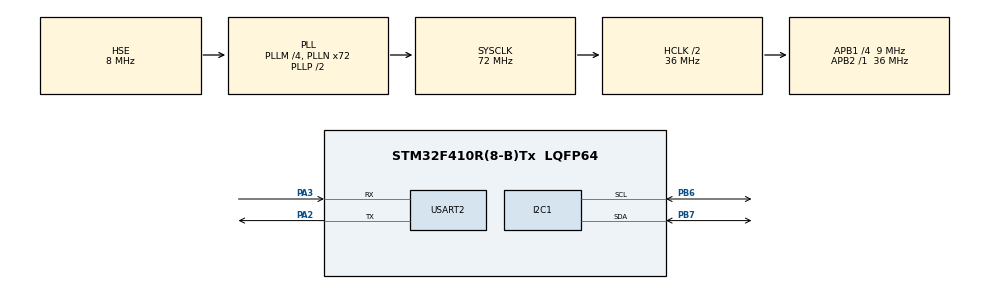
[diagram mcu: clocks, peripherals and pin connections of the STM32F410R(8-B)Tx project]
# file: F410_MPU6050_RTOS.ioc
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FREERTOS.Tasks01=defaultTask,0,128,StartDefaultTask,Default,NULL,Dynamic,NULL,NULL
Mcu.Family=STM32F4
Mcu.Name=STM32F410R(8-B)Tx
Mcu.Package=LQFP64
NVIC.PriorityGroup=NVIC_PRIORITYGROUP_4
NVIC.TIM1_TRG_COM_TIM11_IRQn=true\:15\:0\:false\:false\:true\:false\:false\:true\:true
NVIC.TimeBase=TIM1_TRG_COM_TIM11_IRQn
NVIC.TimeBaseIP=TIM11
NVIC.USART2_IRQn=true\:5\:0\:false\:false\:true\:true\:true\:true\:true
PA2.Mode=Asynchronous
PA2.Signal=USART2_TX
PA3.Mode=Asynchronous
PA3.Signal=USART2_RX
PB6.Mode=I2C
PB6.Signal=I2C1_SCL
PB7.Mode=I2C
PB7.Signal=I2C1_SDA
PH0\ -\ OSC_IN.Mode=HSE-External-Oscillator
PH0\ -\ OSC_IN.Signal=RCC_OSC_IN
PH1\ -\ OSC_OUT.Mode=HSE-External-Oscillator
PH1\ -\ OSC_OUT.Signal=RCC_OSC_OUT
ProjectManager.HeapSize=0x200
ProjectManager.StackSize=0x400
ProjectManager.TargetToolchain=STM32CubeIDE
RCC.48MHZClocksFreq_Value=36000000
RCC.AHBCLKDivider=RCC_SYSCLK_DIV2
RCC.AHBFreq_Value=36000000
RCC.APB1CLKDivider=RCC_HCLK_DIV4
RCC.APB1Freq_Value=9000000
RCC.APB1TimFreq_Value=18000000
RCC.APB2Freq_Value=36000000
RCC.APB2TimFreq_Value=36000000
RCC.CortexFreq_Value=36000000
RCC.HCLKFreq_Value=36000000
RCC.HSE_VALUE=8000000
RCC.HSI_VALUE=16000000
RCC.LSE_VALUE=32768
RCC.PLLM=4
RCC.PLLN=72
RCC.PLLSourceVirtual=RCC_PLLSOURCE_HSE
RCC.SYSCLKFreq_VALUE=72000000
RCC.SYSCLKSource=RCC_SYSCLKSOURCE_PLLCLK
RCC.VCOOutputFreq_Value=144000000
USART2.VirtualMode=VM_ASYNC
VP_FREERTOS_VS_CMSIS_V1.Mode=CMSIS_V1
VP_SYS_VS_tim11.Mode=TIM11
board=custom

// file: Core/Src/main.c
/* USER CODE BEGIN Header */
/**
  ******************************************************************************
  * @file           : main.c
  * @brief          : Main program body
  ******************************************************************************
  * @attention
  *
  * Copyright (c) 2025 STMicroelectronics.
  * All rights reserved.
  *
  * This software is licensed under terms that can be found in the LICENSE file
  * in the root directory of this software component.
  * If no LICENSE file comes with this software, it is provided AS-IS.
  *
  ******************************************************************************
  */
/* USER CODE END Header */
#include "main.h"
//#include "cmsis_os.h"

/* USER CODE BEGIN Includes */
#include "FreeRTOS.h"
#include "task.h"
#include "timers.h"
#include "queue.h"
#include "semphr.h"
#include "event_groups.h"

#include "stdio.h"
#include "string.h"

#include "mpu6050.h"
#include "i2c.h"

/* USER CODE END Includes */

//extern I2C_HandleTypeDef hi2c1;

UART_HandleTypeDef huart2;

/* USER CODE BEGIN PV */
//#define RAD_TO_DEG 57.295779513082320876798154814105
//
//#define WHO_AM_I_REG 0x75
//#define PWR_MGMT_1_REG 0x6B
//#define SMPLRT_DIV_REG 0x19
//#define ACCEL_CONFIG_REG 0x1C
//#define ACCEL_XOUT_H_REG 0x3B
//#define TEMP_OUT_H_REG 0x41
//#define GYRO_CONFIG_REG 0x1B
//#define GYRO_XOUT_H_REG 0x43
//
//// Setup MPU6050
//#define MPU6050_ADDR 0xD0
//const uint16_t i2c_timeout = 100;
//const double Accel_Z_corrector = 14418.0;
//
//uint32_t timer;
//typedef struct {
//    double Q_angle;
//    double Q_bias;
//    double R_measure;
//    double angle;
//    double bias;
//    double P[2][2];
//} Kalman_t;
//
//
//Kalman_t KalmanX = {
//        .Q_angle = 0.001f,
//        .Q_bias = 0.003f,
//        .R_measure = 0.03f
//};
//
//Kalman_t KalmanY = {
//        .Q_angle = 0.001f,
//        .Q_bias = 0.003f,
//        .R_measure = 0.03f,
//};
//
//typedef struct {
//
//    int16_t Accel_X_RAW;
//    int16_t Accel_Y_RAW;
//    int16_t Accel_Z_RAW;
//    double Ax;
//    double Ay;
//    double Az;
//
//    int16_t Gyro_X_RAW;
//    int16_t Gyro_Y_RAW;
//    int16_t Gyro_Z_RAW;
//    double Gx;
//    double Gy;
//    double Gz;
//
//    float Temperature;
//
//    double KalmanAngleX;
//    double KalmanAngleY;
//    double yaw;
//} MPU6050_t;
//
MPU6050_t mpu6050_data;
uint8_t stat = 0;
/* USER CODE END PV */

void SystemClock_Config(void);
static void MX_GPIO_Init(void);
static void MX_USART2_UART_Init(void);
//extern void MX_I2C1_Init(void);

/* USER CODE BEGIN 0 */
xQueueHandle St_Queue_Handler;

xTaskHandle MPU6050ReadAll_Task_Handler;

xTaskHandle Receiver_Task_Handler;

void Receiver_Task(void *argument);
void MPU6050ReadAll_Task(void *argument);
/**************** STRUCTURE DEFINITION *****************/

/* USER CODE END 0 */

int main(void)
{

  /* MCU Configuration--------------------------------------------------------*/

  /* Reset of all peripherals, Initializes the Flash interface and the Systick. */
  HAL_Init();

  /* USER CODE BEGIN Init */
//  while (MPU6050_Init(&hi2c1) == 1);
  /* USER CODE END Init */

  /* Configure the system clock */
  SystemClock_Config();

  /* Initialize all configured peripherals */
  MX_GPIO_Init();
  MX_USART2_UART_Init();
  MX_I2C1_Init();
  /* USER CODE BEGIN 2 */
St_Queue_Handler = xQueueCreate(2, sizeof(MPU6050_t));
xTaskCreate(Receiver_Task, "RECEIVER", 128, NULL, 1, &Receiver_Task_Handler);
xTaskCreate(MPU6050ReadAll_Task, "MPU6050READALL", 128, NULL, 2, &MPU6050ReadAll_Task_Handler);

vTaskStartScheduler();
//  while (MPU6050_Init(&hi2c1) == 1);
  stat = MPU6050_Init(&hi2c1);

  /* USER CODE END 2 */

  /* We should never get here as control is now taken by the scheduler */
  /* Infinite loop */
  while (1)
  {

    /* USER CODE BEGIN 3 */
//	  mpu6050_data = MPU6050_Read_All();
//	  HAL_Delay (100);

  }
  /* USER CODE END 3 */
}

void SystemClock_Config(void)
{
  RCC_OscInitTypeDef RCC_OscInitStruct = {0};
  RCC_ClkInitTypeDef RCC_ClkInitStruct = {0};

  /** Configure the main internal regulator output voltage
  */
  __HAL_RCC_PWR_CLK_ENABLE();
  __HAL_PWR_VOLTAGESCALING_CONFIG(PWR_REGULATOR_VOLTAGE_SCALE1);

  /** Initializes the RCC Oscillators according to the specified parameters
  * in the RCC_OscInitTypeDef structure.
  */
  RCC_OscInitStruct.OscillatorType = RCC_OSCILLATORTYPE_HSE;
  RCC_OscInitStruct.HSEState = RCC_HSE_ON;
  RCC_OscInitStruct.PLL.PLLState = RCC_PLL_ON;
  RCC_OscInitStruct.PLL.PLLSource = RCC_PLLSOURCE_HSE;
  RCC_OscInitStruct.PLL.PLLM = 4;
  RCC_OscInitStruct.PLL.PLLN = 72;
  RCC_OscInitStruct.PLL.PLLP = RCC_PLLP_DIV2;
  RCC_OscInitStruct.PLL.PLLQ = 4;
  RCC_OscInitStruct.PLL.PLLR = 2;
  if (HAL_RCC_OscConfig(&RCC_OscInitStruct) != HAL_OK)
  {
    Error_Handler();
  }

  /** Initializes the CPU, AHB and APB buses clocks
  */
  RCC_ClkInitStruct.ClockType = RCC_CLOCKTYPE_HCLK|RCC_CLOCKTYPE_SYSCLK
                              |RCC_CLOCKTYPE_PCLK1|RCC_CLOCKTYPE_PCLK2;
  RCC_ClkInitStruct.SYSCLKSource = RCC_SYSCLKSOURCE_PLLCLK;
  RCC_ClkInitStruct.AHBCLKDivider = RCC_SYSCLK_DIV2;
  RCC_ClkInitStruct.APB1CLKDivider = RCC_HCLK_DIV4;
  RCC_ClkInitStruct.APB2CLKDivider = RCC_HCLK_DIV1;

  if (HAL_RCC_ClockConfig(&RCC_ClkInitStruct, FLASH_LATENCY_1) != HAL_OK)
  {
    Error_Handler();
  }
}

static void MX_USART2_UART_Init(void)
{

  huart2.Instance = USART2;
  huart2.Init.BaudRate = 115200;
  huart2.Init.WordLength = UART_WORDLENGTH_8B;
  huart2.Init.StopBits = UART_STOPBITS_1;
  huart2.Init.Parity = UART_PARITY_NONE;
  huart2.Init.Mode = UART_MODE_TX_RX;
  huart2.Init.HwFlowCtl = UART_HWCONTROL_NONE;
  huart2.Init.OverSampling = UART_OVERSAMPLING_16;
  if (HAL_UART_Init(&huart2) != HAL_OK)
  {
    Error_Handler();
  }

}

static void MX_GPIO_Init(void)
{

  /* GPIO Ports Clock Enable */
  __HAL_RCC_GPIOH_CLK_ENABLE();
  __HAL_RCC_GPIOA_CLK_ENABLE();
  __HAL_RCC_GPIOB_CLK_ENABLE();

}

/* USER CODE BEGIN 4 */

void MPU6050ReadAll_Task (void *argument)
{
	uint32_t TickDelay = pdMS_TO_TICKS(3000);
	while(1)
	{
		mpu6050_data = MPU6050_Read_All();

		MPU6050_t *ptrtostruct;

		/****** ALOOCATE MEMORY TO THE PTR ********/
		ptrtostruct = pvPortMalloc(sizeof (MPU6050_t));
		/********** LOAD THE DATA ***********/
		ptrtostruct->Accel_X_RAW = mpu6050_data.Accel_X_RAW;
		ptrtostruct->Accel_Y_RAW = mpu6050_data.Accel_Y_RAW;
		ptrtostruct->Accel_Z_RAW = mpu6050_data.Accel_Z_RAW;

		ptrtostruct->Gyro_X_RAW = mpu6050_data.Gyro_X_RAW;
		ptrtostruct->Gyro_Y_RAW = mpu6050_data.Gyro_Y_RAW;
		ptrtostruct->Gyro_Z_RAW = mpu6050_data.Gyro_Z_RAW;

		ptrtostruct->Ax = mpu6050_data.Ax;
		ptrtostruct->Ay = mpu6050_data.Ay;
		ptrtostruct->Az = mpu6050_data.Az;

		ptrtostruct->Gx = mpu6050_data.Gx;
		ptrtostruct->Gy = mpu6050_data.Gy;
		ptrtostruct->Gz = mpu6050_data.Gz;
////
////		/***** send to the queue ****/
//////		if (ptrtostruct != NULL)
//////		{
//			xQueueSend(St_Queue_Handler, &ptrtostruct, portMAX_DELAY);
//////		}
////		if (xQueueSend(St_Queue_Handler, &ptrtostruct, portMAX_DELAY) == pdPASS)
////		{
//////		char *str2 = " Successfully sent the to the queue\nLeaving MPU6050ReadAll_Task\n\n\n";
//////		HAL_UART_Transmit(&huart2, (uint8_t *)str2, strlen (str2), HAL_MAX_DELAY);
////		}
		vTaskDelay(TickDelay);
	}
}

void Receiver_Task (void *argument)	//se la ham pid_compute()
{
	MPU6050_t *Rptrtostruct;
	uint32_t TickDelay = pdMS_TO_TICKS(4000);
	while (1)
	{

		/**** RECEIVE FROM QUEUE *****/
		if (xQueueReceive(St_Queue_Handler, &Rptrtostruct, portMAX_DELAY) == pdPASS)
		{
		    vPortFree(Rptrtostruct);
		}

		vTaskDelay(TickDelay);
	}
}

/* USER CODE END 4 */

void HAL_TIM_PeriodElapsedCallback(TIM_HandleTypeDef *htim)
{
  if (htim->Instance == TIM11) {
    HAL_IncTick();
  }
}

void Error_Handler(void)
{
  __disable_irq();
  while (1)
  {
  }
}
